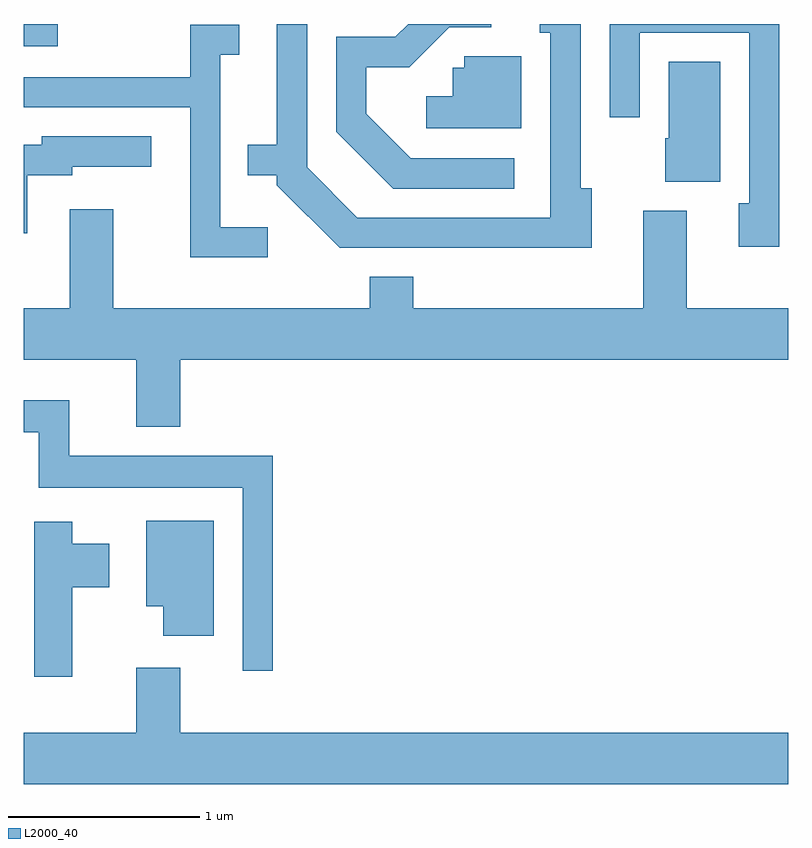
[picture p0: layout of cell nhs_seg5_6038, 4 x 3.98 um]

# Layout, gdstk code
import gdstk
lib = gdstk.Library(unit=1e-6, precision=1e-09)
def R(c, l, rs):  # rectangles x0, y0, x1, y1
    for r in rs: c.add(gdstk.rectangle(r[:2], r[2:], *l))
def P(c, l, *ps):  # polygons
    for p in ps: c.add(gdstk.Polygon(p, *l))
L2000_40 = (2000, 40)

nhs_seg5_6038 = lib.new_cell('nhs_seg5_6038')
R(nhs_seg5_6038, L2000_40, [(363.611,1493.956,363.789,1494.072)])
P(nhs_seg5_6038, L2000_40, [(366.584,1493.214),(366.524,1493.214),(366.524,1494.072),(366.311,1494.072),(366.311,1494.026),(366.366,1494.026),(366.366,1493.059),(365.357,1493.059),(365.094,1493.322),(365.094,1494.072),(364.936,1494.072),(364.936,1493.439),(364.783,1493.439),(364.783,1493.281),(364.936,1493.281),(364.936,1493.229),(365.264,1492.901),(366.584,1492.901)],
  [(367.564,1494.072),(366.676,1494.072),(366.676,1493.583),(366.834,1493.583),(366.834,1494.026),(367.406,1494.026),(367.406,1493.134),(367.351,1493.134),(367.351,1492.906),(367.564,1492.906)],
  [(366.178,1493.369),(365.637,1493.369),(365.404,1493.602),(365.404,1493.846),(365.627,1493.846),(365.837,1494.056),(366.058,1494.056),(366.058,1494.072),(365.622,1494.072),(365.554,1494.004),(365.246,1494.004),(365.246,1493.509),(365.544,1493.211),(366.178,1493.211)],
  [(364.888,1493.009),(364.639,1493.009),(364.639,1493.911),(364.738,1493.911),(364.738,1494.069),(364.481,1494.069),(364.481,1493.794),(363.611,1493.794),(363.611,1493.636),(364.481,1493.636),(364.481,1492.851),(364.888,1492.851)],
  [(366.214,1493.904),(365.916,1493.904),(365.916,1493.844),(365.856,1493.844),(365.856,1493.694),(365.718,1493.694),(365.718,1493.526),(366.214,1493.526)],
  [(367.254,1493.874),(366.986,1493.874),(366.986,1493.474),(366.966,1493.474),(366.966,1493.246),(367.254,1493.246)],
  [(363.629,1493.281),(363.864,1493.281),(363.864,1493.326),(364.278,1493.326),(364.278,1493.484),(363.706,1493.484),(363.706,1493.439),(363.611,1493.439),(363.611,1492.976),(363.629,1492.976)],
  [(364.429,1492.316),(367.611,1492.316),(367.611,1492.584),(367.079,1492.584),(367.079,1493.094),(366.851,1493.094),(366.851,1492.584),(365.649,1492.584),(365.649,1492.749),(365.421,1492.749),(365.421,1492.584),(364.079,1492.584),(364.079,1493.104),(363.851,1493.104),(363.851,1492.584),(363.611,1492.584),(363.611,1492.316),(364.201,1492.316),(364.201,1491.966),(364.429,1491.966)],
  [(364.914,1491.814),(363.849,1491.814),(363.849,1492.104),(363.611,1492.104),(363.611,1491.936),(363.691,1491.936),(363.691,1491.646),(364.756,1491.646),(364.756,1490.688),(364.914,1490.688)],
  [(364.604,1491.474),(364.251,1491.474),(364.251,1491.026),(364.341,1491.026),(364.341,1490.871),(364.604,1490.871)],
  [(363.864,1491.126),(364.059,1491.126),(364.059,1491.354),(363.864,1491.354),(363.864,1491.469),(363.666,1491.469),(363.666,1490.656),(363.864,1490.656)],
  [(367.611,1490.364),(364.429,1490.364),(364.429,1490.704),(364.201,1490.704),(364.201,1490.364),(363.611,1490.364),(363.611,1490.096),(367.611,1490.096)])

lib.write_gds('nhs_seg5_6038.gds')
